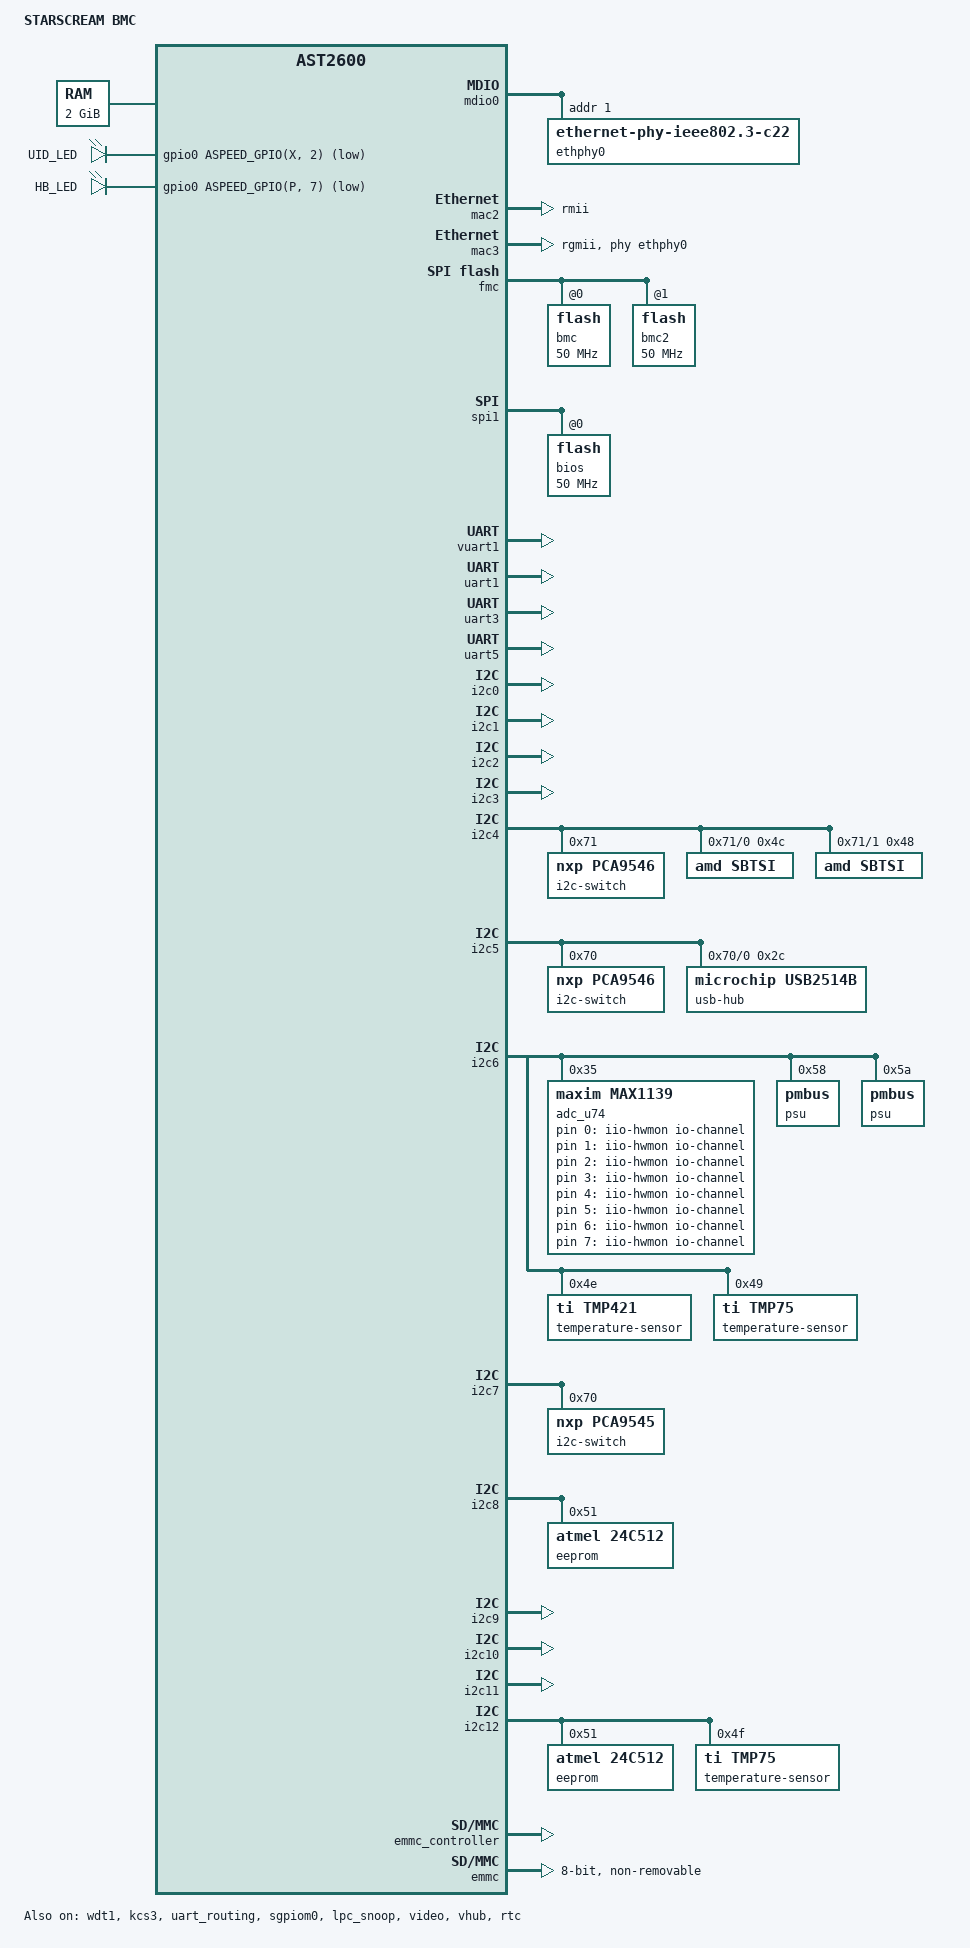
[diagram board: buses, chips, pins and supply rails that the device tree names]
// SPDX-License-Identifier: GPL-2.0-or-later
// Copyright 2023 Inventec Corp.

/dts-v1/;

#include "aspeed-g6.dtsi"
#include "aspeed-g6-pinctrl.dtsi"
#include <dt-bindings/i2c/i2c.h>
#include <dt-bindings/gpio/aspeed-gpio.h>

/ {
	model = "STARSCREAM BMC";
	compatible = "inventec,starscream-bmc", "aspeed,ast2600";

	aliases {
		serial4 = &uart5;
	};

	chosen {
		stdout-path = &uart5;
	};

	memory@80000000 {
		device_type = "memory";
		reg = <0x80000000 0x80000000>;
	};

	reserved-memory {
		#address-cells = <1>;
		#size-cells = <1>;
		ranges;

		video_engine_memory: video {
			size = <0x04000000>;
			alignment = <0x01000000>;
			compatible = "shared-dma-pool";
			reusable;
		};
	};


	iio-hwmon {
		compatible = "iio-hwmon";
		io-channels =
		<&adc_u74 0>, // P0_VDD11
		<&adc_u74 1>, // P1_VDD11
		<&adc_u74 2>, // P0_3V3_S5
		<&adc_u74 3>, // P1_3V3_S5
		<&adc_u74 4>, // P3V3
		<&adc_u74 5>, // VBAT
		<&adc_u74 6>, // P3V3_STBY
		<&adc_u74 7>, // P5V_STBY
		<&adc_u74 8>, // P5V
		<&adc_u74 9>, // P12V
		<&adc_u74 10>, // P1_VDD18_S5
		<&adc_u74 11> // P0_VDD18_S5
		;
	};

	leds {
		compatible = "gpio-leds";

		uid {
			label = "UID_LED";
			gpios = <&gpio0 ASPEED_GPIO(X, 2) GPIO_ACTIVE_LOW>;
		};

		heartbeat {
			label = "HB_LED";
			gpios = <&gpio0 ASPEED_GPIO(P, 7) GPIO_ACTIVE_LOW>;
		};
	};
};

&mdio0 {
	status = "okay";

	ethphy0: ethernet-phy@0 {
		compatible = "ethernet-phy-ieee802.3-c22";
		reg = <1>;
	};
};

&mac2 {
	status = "okay";
	pinctrl-names = "default";
	phy-mode = "rmii";
	pinctrl-0 = <&pinctrl_rmii3_default>;
	use-ncsi;
};

&mac3 {
	status = "okay";

	phy-mode = "rgmii";
	phy-handle = <&ethphy0>;

	pinctrl-names = "default";
	pinctrl-0 = <&pinctrl_rgmii4_default>;
};

&fmc {
	status = "okay";
	flash@0 {
		status = "okay";
		m25p,fast-read;
		label = "bmc";
		spi-max-frequency = <50000000>;
		spi-tx-bus-width = <4>;
		spi-rx-bus-width = <4>;
#include "openbmc-flash-layout.dtsi"
	};

	flash@1 {
		status = "okay";
		m25p,fast-read;
		label = "bmc2";
		spi-max-frequency = <50000000>;
		spi-tx-bus-width = <4>;
		spi-rx-bus-width = <4>;
	};
};

&spi1 {
	status = "okay";
	pinctrl-names = "default";
	pinctrl-0 = <&pinctrl_spi1_default>;

	flash@0 {
		status = "okay";
		m25p,fast-read;
		label = "bios";
		spi-max-frequency = <50000000>;
		spi-tx-bus-width = <4>;
		spi-rx-bus-width = <4>;
	};
};


&wdt1 {
	status = "okay";
};

&vuart1 {
	status = "okay";
};

&uart1 {
	status = "okay";
};

&uart3 {
	status = "okay";
};

&uart5 {
	status = "okay";
};

&kcs3 {
	aspeed,lpc-io-reg = <0xca2>;
	status = "okay";
};

&uart_routing {
	status = "okay";
};

&i2c0 {
	status = "okay";
};
&i2c1 {
	status = "okay";
};
&i2c2 {
	status = "okay";
};
&i2c3 {
	status = "okay";
};

&i2c4 {
	status = "okay";

	// I2C EXPANDER
	i2c-switch@71 {
		compatible = "nxp,pca9546";
		#address-cells = <1>;
		#size-cells = <0>;
		reg = <0x71>;

		i2c@0 {
			#address-cells = <1>;
			#size-cells = <0>;
			reg = <0>;
			// AMD SB-TSI CPU1
			sbtsi@4c {
				compatible = "amd,sbtsi";
				reg = <0x4c>;
			};
		};

		i2c@1 {
			#address-cells = <1>;
			#size-cells = <0>;
			reg = <1>;
			// AMD SB-TSI CPU2
			sbtsi@48 {
				compatible = "amd,sbtsi";
				reg = <0x48>;
			};
		};
	};
};

&i2c5 {
	status = "okay";

	// I2C EXPANDER U153
	i2c-switch@70 {
		compatible = "nxp,pca9546";
		#address-cells = <1>;
		#size-cells = <0>;
		reg = <0x70>;

		usb_hub: i2c@0 {
			#address-cells = <1>;
			#size-cells = <0>;
			reg = <0>;

			// USB U114
			usb-hub@2c {
				compatible = "microchip,usb2514b";
				reg = <0x2c>;
			};
		};

		riser1: i2c@1 {
			#address-cells = <1>;
			#size-cells = <0>;
			reg = <1>;
		};

		riser2: i2c@2 {
			#address-cells = <1>;
			#size-cells = <0>;
			reg = <2>;
		};

		i2c@3 {
			#address-cells = <1>;
			#size-cells = <0>;
			reg = <3>;
		};
	};
};

&i2c6 {
	status = "okay";

	// ADC_U74
	adc_u74: adc@35 {
		compatible = "maxim,max1139";
		reg = <0x35>;
		#io-channel-cells = <1>;
	};

	psu@58 {
		compatible = "pmbus";
		reg = <0x58>;
	};

	psu@5a {
		compatible = "pmbus";
		reg = <0x5a>;
	};

	// Motherboard Temp_U89
	temperature-sensor@4e {
		compatible = "ti,tmp421";
		reg = <0x4e>;
	};

	// RunBMC Temp_U6
	temperature-sensor@49 {
		compatible = "ti,tmp75";
		reg = <0x49>;
	};
};

&i2c7 {
	status = "okay";
	// I2C EXPANDER U40
	i2c-switch@70 {
		compatible = "nxp,pca9545";
		#address-cells = <1>;
		#size-cells = <0>;
		reg = <0x70>;

		i2c@0 {
			#address-cells = <1>;
			#size-cells = <0>;
			reg = <0>;
		};

		i2c@1 {
			#address-cells = <1>;
			#size-cells = <0>;
			reg = <1>;
		};

		i2c@2 {
			#address-cells = <1>;
			#size-cells = <0>;
			reg = <2>;
		};

		i2c@3 {
			#address-cells = <1>;
			#size-cells = <0>;
			reg = <3>;
		};
	};
};


&i2c8 {
	status = "okay";
	// FRU RunBMC
	eeprom@51 {
		compatible = "atmel,24c512";
		reg = <0x51>;
		pagesize = <128>;
	};
};

&i2c9 {
	status = "okay";
};

&i2c10 {
	status = "okay";
};

&i2c11 {
	status = "okay";
};

&i2c12 {
	status = "okay";
	// FRU SCM
	eeprom@51 {
		compatible = "atmel,24c512";
		reg = <0x51>;
		pagesize = <128>;
	};

	// SCM Temp_U17
	temperature-sensor@4f {
		compatible = "ti,tmp75";
		reg = <0x4f>;
	};
};


&gpio0 {
	status = "okay";
	gpio-line-names =
	/*A0-A7*/   "","","","","","","","",
	/*B0-B7*/   "alert-psu0-smb-r-n","bmc-ready","","assert-cpu0-prochot-r-n",
	"","","","",
	/*C0-C7*/   "","","","","","","","",
	/*D0-D7*/   "","","","","","","","",
	/*E0-E7*/   "","","","","","","","",
	/*F0-F7*/   "","","","","reset-sgpio-r-n","","","",
	/*G0-G7*/   "","","scm-jtag-mux-select","","","","","",
	/*H0-H7*/   "","","","","reset-out","power-out","","",
	/*I0-I7*/   "","","","","","","irq-bmc-cpu0-buf-nmi-n","",
	/*J0-J7*/   "","","","","","","","",
	/*K0-K7*/   "","","","","","","","",
	/*L0-L7*/   "","","","","","","","",
	/*M0-M7*/   "","","","","","","","",
	/*N0-N7*/   "","","ncsi-ocp-clk-en-n","","","","","",
	/*O0-O7*/   "","","","","","","cpu1-thermal-trip-n","",
	/*P0-P7*/   "","","","","","","","",
	/*Q0-Q7*/   "cpu0-prochot-n","","cpu1-prochot-n","","cpu0-pe-rst0","","","",
	/*R0-R7*/   "","","","","","","","",
	/*S0-S7*/   "","","","",
	"","PCH_SLP_S4_BMC_N","cpu0-thermtrip-n","alert-psu1-smb-r-n",
	/*T0-T7*/   "","","","","","","","",
	/*U0-U7*/   "","","","","","","","",
	/*V0-V7*/   "bios-recovery-buf-n","","assert-cpu1-prochot-r-n","",
	"power-chassis-good","","","",
	/*W0-W7*/   "","","","","","","","",
	/*X0-X7*/   "","","","","platform-type","","","",
	/*Y0-Y7*/   "","","","","","","","",
	/*Z0-Z7*/   "","cpld-power-break-n","","","","","","",
	/*AA0-AA7*/ "","","","","","","","",
	/*AB0-AB7*/ "","","","","","","","",
	/*AC0-AC7*/ "","","","","","","","";
};

&sgpiom0 {
	status = "okay";
	max-ngpios = <64>;
	ngpios = <64>;
	bus-frequency = <1000000>;
	gpio-line-names =
	/*in - out - in - out */
	/*A0-A7*/   "","","","","","","","",
	/*A0-A7*/   "","","","","","","","",
	/*B0-B7*/   "","reset-cpu0-i2c-n","","reset-cpu1-i2c-n",
	"","reset-i2c-bus7-n","","usb2514-1-reset-n",
	/*B0-B7*/   "","bmc-cpu0-uart-en","","hdt-buff-en-n",
	"","assert-clear-cmos","","hdt-mux-select-mon",
	/*C0-C7*/   "led-identify","cpld-jtag-oe-r-n","cpu0-spd-host-ctrl-n","reset-cpld-hdt-n",
	"","i3c-mux-select","","spi-mux-select",
	/*C0-C7*/   "","","","","","","","",
	/*D0-D7*/   "","","","","","","","",
	/*D0-D7*/   "","","","","","","bios-post-complete-buf-n","",
	/*E0-E7*/   "","","","","","","","",
	/*E0-E7*/   "","","","","","","","",
	/*F0-F7*/   "presence-fan0-n","","presence-fan1-n","",
	"presence-fan2-n","","presence-fan3-n","",
	/*F0-F7*/   "presence-fan4-n","","presence-fan5-n","",
	"presence-cpu0-n","","presence-cpu1-n","",
	/*G0-G7*/   "","","","","","","","",
	/*G0-G7*/   "","","","","presence-psu0-cpld-n","","presence-psu1-cpld-n","",
	/*H0-H7*/   "","","","","","","","",
	/*H0-H7*/   "","","","","presence-riser0-n","","presence-riser1-n","";
};


&lpc_snoop {
	status = "okay";
	snoop-ports = <0x80>;
};

&emmc_controller {
	status = "okay";
};

&emmc {
	status = "okay";
	non-removable;
	max-frequency = <52000000>;
	bus-width = <8>;
};

&video {
	status = "okay";
	memory-region = <&video_engine_memory>;
};

&vhub {
	status = "okay";
	aspeed,vhub-downstream-ports = <7>;
	aspeed,vhub-generic-endpoints = <21>;
	pinctrl-names = "default";
	pinctrl-0 = <&pinctrl_usb2ad_default>;
};

&rtc {
	status = "okay";
};

